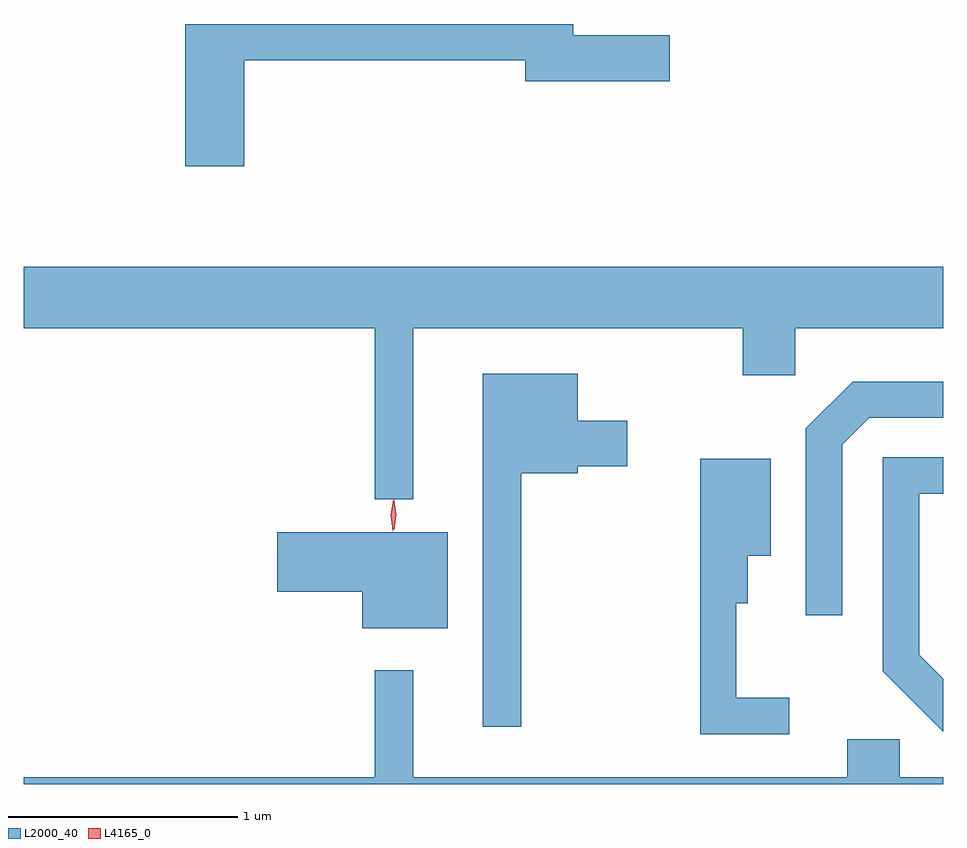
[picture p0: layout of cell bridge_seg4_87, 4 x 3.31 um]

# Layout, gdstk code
import gdstk
lib = gdstk.Library(unit=1e-6, precision=1e-09)
def P(c, l, *ps):  # polygons
    for p in ps: c.add(gdstk.Polygon(p, *l))
L2000_40 = (2000, 40)
L4165_0 = (4165, 0)

bridge_seg4_87 = lib.new_cell('bridge_seg4_87')
P(bridge_seg4_87, L2000_40, [(1088.724,1329.201),(1089.946,1329.201),(1089.946,1329.111),(1090.574,1329.111),(1090.574,1329.309),(1090.154,1329.309),(1090.154,1329.359),(1088.466,1329.359),(1088.466,1328.741),(1088.724,1328.741)],
  [(1089.459,1328.036),(1090.891,1328.036),(1090.891,1327.831),(1091.119,1327.831),(1091.119,1328.036),(1091.764,1328.036),(1091.764,1328.304),(1087.764,1328.304),(1087.764,1328.036),(1089.291,1328.036),(1089.291,1327.293),(1089.459,1327.293)],
  [(1089.929,1327.406),(1090.174,1327.406),(1090.174,1327.436),(1090.389,1327.436),(1090.389,1327.634),(1090.174,1327.634),(1090.174,1327.839),(1089.761,1327.839),(1089.761,1326.303),(1089.929,1326.303)],
  [(1091.324,1327.529),(1091.442,1327.646),(1091.764,1327.646),(1091.764,1327.804),(1091.369,1327.804),(1091.166,1327.602),(1091.166,1326.788),(1091.324,1326.788)],
  [(1091.764,1326.512),(1091.659,1326.617),(1091.659,1327.316),(1091.764,1327.316),(1091.764,1327.474),(1091.501,1327.474),(1091.501,1326.544),(1091.764,1326.281)],
  [(1091.093,1326.429),(1090.864,1326.429),(1090.864,1326.841),(1090.914,1326.841),(1090.914,1327.046),(1091.014,1327.046),(1091.014,1327.469),(1090.706,1327.469),(1090.706,1326.271),(1091.093,1326.271)],
  [(1089.609,1327.149),(1088.866,1327.149),(1088.866,1326.891),(1089.236,1326.891),(1089.236,1326.731),(1089.609,1326.731)],
  [(1091.764,1326.084),(1091.574,1326.084),(1091.574,1326.249),(1091.346,1326.249),(1091.346,1326.084),(1089.459,1326.084),(1089.459,1326.548),(1089.291,1326.548),(1089.291,1326.084),(1087.764,1326.084),(1087.764,1326.054),(1091.764,1326.054)])
P(bridge_seg4_87, L4165_0, [(1089.369,1327.154),(1089.36,1327.222),(1089.371,1327.29),(1089.371,1327.29),(1089.372,1327.29),(1089.38,1327.222),(1089.37,1327.154),(1089.37,1327.154)],
  [(1089.374,1327.16),(1089.365,1327.224),(1089.374,1327.286),(1089.375,1327.287),(1089.375,1327.286),(1089.385,1327.224),(1089.375,1327.16),(1089.375,1327.16)])

lib.write_gds('bridge_seg4_87.gds')
